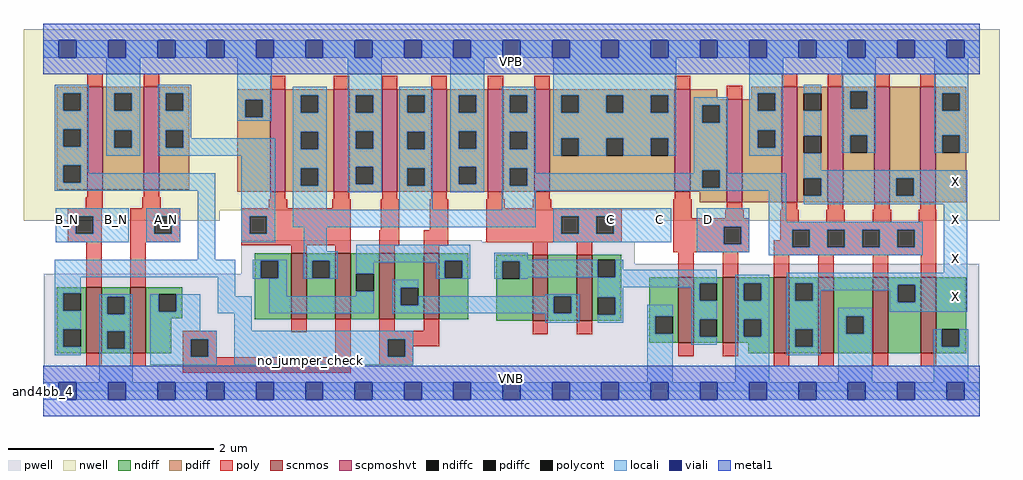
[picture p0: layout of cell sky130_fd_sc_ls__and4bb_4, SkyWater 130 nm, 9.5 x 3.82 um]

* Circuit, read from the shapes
.subckt sky130_fd_sc_ls__and4bb_4 A_N B_N C D VGND VNB VPB VPWR X
XM1 VGND B_N n1 VNB sky130_fd_pr__nfet_01v8 w=0.64 l=0.15
XM2 n2 A_N VGND VNB sky130_fd_pr__nfet_01v8 w=0.64 l=0.15
XM3 n3 n2 n4 VNB sky130_fd_pr__nfet_01v8 w=0.64 l=0.15 m=2
XM4 n5 n1 n4 VNB sky130_fd_pr__nfet_01v8 w=0.64 l=0.15 m=2
XM5 n5 C n6 VNB sky130_fd_pr__nfet_01v8 w=0.64 l=0.15 m=2
XM6 n6 D VGND VNB sky130_fd_pr__nfet_01v8 w=0.64 l=0.15 m=2
XM7 X n3 VGND VNB sky130_fd_pr__nfet_01v8 w=0.74 l=0.15 m=4
XM8 VPWR B_N n1 VPB sky130_fd_pr__pfet_01v8_hvt w=1 l=0.15
XM9 n2 A_N VPWR VPB sky130_fd_pr__pfet_01v8_hvt w=1 l=0.15
XM10 n3 n2 VPWR VPB sky130_fd_pr__pfet_01v8_hvt w=1 l=0.15 m=2
XM11 n3 n1 VPWR VPB sky130_fd_pr__pfet_01v8_hvt w=1 l=0.15 m=2
XM12 n3 C VPWR VPB sky130_fd_pr__pfet_01v8_hvt w=1 l=0.15 m=2
XM13 n3 D VPWR VPB sky130_fd_pr__pfet_01v8_hvt w=1 l=0.15 m=2
XM14 X n3 VPWR VPB sky130_fd_pr__pfet_01v8_hvt w=1.12 l=0.15 m=4
.ends

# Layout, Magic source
magic
tech sky130A
magscale 1 2
<< nwell >>
rect -38 352 1862 704
rect -38 332 344 352
rect 1194 332 1862 352
<< pwell >>
rect 386 291 854 294
rect 386 248 1152 291
rect 386 228 1823 248
rect 1 49 1823 228
rect 0 0 1824 49
<< scnmos >>
rect 84 74 114 202
rect 170 74 200 202
rect 483 140 513 268
rect 569 140 599 268
rect 655 140 685 268
rect 741 140 771 268
rect 953 137 983 265
rect 1039 137 1069 265
rect 1237 94 1267 222
rect 1323 94 1353 222
rect 1423 74 1453 222
rect 1509 74 1539 222
rect 1615 74 1645 222
rect 1709 74 1739 222
<< scpmoshvt >>
rect 86 392 116 592
rect 196 392 226 592
rect 442 388 472 588
rect 566 388 596 588
rect 660 388 690 588
rect 756 388 786 588
rect 866 388 896 588
rect 956 388 986 588
rect 1230 388 1260 588
rect 1331 368 1361 568
rect 1438 368 1468 592
rect 1528 368 1558 592
rect 1618 368 1648 592
rect 1708 368 1738 592
<< ndiff >>
rect 412 254 483 268
rect 412 220 424 254
rect 458 220 483 254
rect 27 190 84 202
rect 27 156 39 190
rect 73 156 84 190
rect 27 120 84 156
rect 27 86 39 120
rect 73 86 84 120
rect 27 74 84 86
rect 114 184 170 202
rect 114 150 125 184
rect 159 150 170 184
rect 114 116 170 150
rect 114 82 125 116
rect 159 82 170 116
rect 114 74 170 82
rect 200 188 271 202
rect 200 154 225 188
rect 259 154 271 188
rect 200 142 271 154
rect 200 74 250 142
rect 412 140 483 220
rect 513 254 569 268
rect 513 220 524 254
rect 558 220 569 254
rect 513 140 569 220
rect 599 228 655 268
rect 599 194 610 228
rect 644 194 655 228
rect 599 140 655 194
rect 685 201 741 268
rect 685 167 696 201
rect 730 167 741 201
rect 685 140 741 167
rect 771 254 828 268
rect 771 220 782 254
rect 816 220 828 254
rect 771 140 828 220
rect 882 253 953 265
rect 882 219 894 253
rect 928 219 953 253
rect 882 137 953 219
rect 983 185 1039 265
rect 983 151 994 185
rect 1028 151 1039 185
rect 983 137 1039 151
rect 1069 256 1126 265
rect 1069 222 1080 256
rect 1114 222 1126 256
rect 1069 183 1126 222
rect 1069 149 1080 183
rect 1114 149 1126 183
rect 1069 137 1126 149
rect 1180 146 1237 222
rect 1180 112 1192 146
rect 1226 112 1237 146
rect 1180 94 1237 112
rect 1267 210 1323 222
rect 1267 176 1278 210
rect 1312 176 1323 210
rect 1267 140 1323 176
rect 1267 106 1278 140
rect 1312 106 1323 140
rect 1267 94 1323 106
rect 1353 210 1423 222
rect 1353 176 1364 210
rect 1398 176 1423 210
rect 1353 140 1423 176
rect 1353 106 1364 140
rect 1398 106 1423 140
rect 1353 94 1423 106
rect 1373 74 1423 94
rect 1453 210 1509 222
rect 1453 176 1464 210
rect 1498 176 1509 210
rect 1453 120 1509 176
rect 1453 86 1464 120
rect 1498 86 1509 120
rect 1453 74 1509 86
rect 1539 146 1615 222
rect 1539 112 1564 146
rect 1598 112 1615 146
rect 1539 74 1615 112
rect 1645 207 1709 222
rect 1645 173 1664 207
rect 1698 173 1709 207
rect 1645 74 1709 173
rect 1739 120 1797 222
rect 1739 86 1750 120
rect 1784 86 1797 120
rect 1739 74 1797 86
<< pdiff >>
rect 27 580 86 592
rect 27 546 39 580
rect 73 546 86 580
rect 27 510 86 546
rect 27 476 39 510
rect 73 476 86 510
rect 27 440 86 476
rect 27 406 39 440
rect 73 406 86 440
rect 27 392 86 406
rect 116 580 196 592
rect 116 546 139 580
rect 173 546 196 580
rect 116 508 196 546
rect 116 474 139 508
rect 173 474 196 508
rect 116 392 196 474
rect 226 580 285 592
rect 226 546 239 580
rect 273 546 285 580
rect 226 508 285 546
rect 226 474 239 508
rect 273 474 285 508
rect 226 392 285 474
rect 378 567 442 588
rect 378 533 394 567
rect 428 533 442 567
rect 378 388 442 533
rect 472 576 566 588
rect 472 542 502 576
rect 536 542 566 576
rect 472 505 566 542
rect 472 471 502 505
rect 536 471 566 505
rect 472 434 566 471
rect 472 400 502 434
rect 536 400 566 434
rect 472 388 566 400
rect 596 576 660 588
rect 596 542 609 576
rect 643 542 660 576
rect 596 506 660 542
rect 596 472 609 506
rect 643 472 660 506
rect 596 437 660 472
rect 596 403 609 437
rect 643 403 660 437
rect 596 388 660 403
rect 690 576 756 588
rect 690 542 709 576
rect 743 542 756 576
rect 690 505 756 542
rect 690 471 709 505
rect 743 471 756 505
rect 690 434 756 471
rect 690 400 709 434
rect 743 400 756 434
rect 690 388 756 400
rect 786 576 866 588
rect 786 542 809 576
rect 843 542 866 576
rect 786 506 866 542
rect 786 472 809 506
rect 843 472 866 506
rect 786 437 866 472
rect 786 403 809 437
rect 843 403 866 437
rect 786 388 866 403
rect 896 576 956 588
rect 896 542 909 576
rect 943 542 956 576
rect 896 505 956 542
rect 896 471 909 505
rect 943 471 956 505
rect 896 434 956 471
rect 896 400 909 434
rect 943 400 956 434
rect 896 388 956 400
rect 986 576 1230 588
rect 986 542 1009 576
rect 1043 542 1096 576
rect 1130 542 1183 576
rect 1217 542 1230 576
rect 986 492 1230 542
rect 986 458 1009 492
rect 1043 458 1096 492
rect 1130 458 1183 492
rect 1217 458 1230 492
rect 986 388 1230 458
rect 1260 568 1313 588
rect 1379 580 1438 592
rect 1379 568 1391 580
rect 1260 556 1331 568
rect 1260 522 1283 556
rect 1317 522 1331 556
rect 1260 430 1331 522
rect 1260 396 1283 430
rect 1317 396 1331 430
rect 1260 388 1331 396
rect 1278 368 1331 388
rect 1361 546 1391 568
rect 1425 546 1438 580
rect 1361 508 1438 546
rect 1361 474 1391 508
rect 1425 474 1438 508
rect 1361 368 1438 474
rect 1468 580 1528 592
rect 1468 546 1481 580
rect 1515 546 1528 580
rect 1468 497 1528 546
rect 1468 463 1481 497
rect 1515 463 1528 497
rect 1468 414 1528 463
rect 1468 380 1481 414
rect 1515 380 1528 414
rect 1468 368 1528 380
rect 1558 584 1618 592
rect 1558 550 1571 584
rect 1605 550 1618 584
rect 1558 498 1618 550
rect 1558 464 1571 498
rect 1605 464 1618 498
rect 1558 368 1618 464
rect 1648 414 1708 592
rect 1648 380 1661 414
rect 1695 380 1708 414
rect 1648 368 1708 380
rect 1738 580 1797 592
rect 1738 546 1751 580
rect 1785 546 1797 580
rect 1738 498 1797 546
rect 1738 464 1751 498
rect 1785 464 1797 498
rect 1738 368 1797 464
<< ndiffc >>
rect 424 220 458 254
rect 39 156 73 190
rect 39 86 73 120
rect 125 150 159 184
rect 125 82 159 116
rect 225 154 259 188
rect 524 220 558 254
rect 610 194 644 228
rect 696 167 730 201
rect 782 220 816 254
rect 894 219 928 253
rect 994 151 1028 185
rect 1080 222 1114 256
rect 1080 149 1114 183
rect 1192 112 1226 146
rect 1278 176 1312 210
rect 1278 106 1312 140
rect 1364 176 1398 210
rect 1364 106 1398 140
rect 1464 176 1498 210
rect 1464 86 1498 120
rect 1564 112 1598 146
rect 1664 173 1698 207
rect 1750 86 1784 120
<< pdiffc >>
rect 39 546 73 580
rect 39 476 73 510
rect 39 406 73 440
rect 139 546 173 580
rect 139 474 173 508
rect 239 546 273 580
rect 239 474 273 508
rect 394 533 428 567
rect 502 542 536 576
rect 502 471 536 505
rect 502 400 536 434
rect 609 542 643 576
rect 609 472 643 506
rect 609 403 643 437
rect 709 542 743 576
rect 709 471 743 505
rect 709 400 743 434
rect 809 542 843 576
rect 809 472 843 506
rect 809 403 843 437
rect 909 542 943 576
rect 909 471 943 505
rect 909 400 943 434
rect 1009 542 1043 576
rect 1096 542 1130 576
rect 1183 542 1217 576
rect 1009 458 1043 492
rect 1096 458 1130 492
rect 1183 458 1217 492
rect 1283 522 1317 556
rect 1283 396 1317 430
rect 1391 546 1425 580
rect 1391 474 1425 508
rect 1481 546 1515 580
rect 1481 463 1515 497
rect 1481 380 1515 414
rect 1571 550 1605 584
rect 1571 464 1605 498
rect 1661 380 1695 414
rect 1751 546 1785 580
rect 1751 464 1785 498
<< poly >>
rect 86 592 116 618
rect 196 592 226 618
rect 442 588 472 614
rect 566 588 596 614
rect 660 588 690 614
rect 756 588 786 614
rect 866 588 896 614
rect 956 588 986 614
rect 1230 588 1260 614
rect 86 377 116 392
rect 196 377 226 392
rect 1331 568 1361 594
rect 1438 592 1468 618
rect 1528 592 1558 618
rect 1618 592 1648 618
rect 1708 592 1738 618
rect 83 356 116 377
rect 193 356 229 377
rect 442 373 472 388
rect 566 373 596 388
rect 660 373 690 388
rect 756 373 786 388
rect 866 373 896 388
rect 956 373 986 388
rect 1230 373 1260 388
rect 439 356 475 373
rect 563 356 599 373
rect 48 340 114 356
rect 48 306 64 340
rect 98 306 114 340
rect 48 290 114 306
rect 84 202 114 290
rect 170 340 267 356
rect 170 306 217 340
rect 251 306 267 340
rect 170 290 267 306
rect 386 340 599 356
rect 386 306 402 340
rect 436 306 599 340
rect 657 313 693 373
rect 753 313 789 373
rect 170 202 200 290
rect 386 284 599 306
rect 483 268 513 284
rect 569 268 599 284
rect 655 283 693 313
rect 741 283 789 313
rect 863 356 899 373
rect 953 356 989 373
rect 863 340 1127 356
rect 863 306 1009 340
rect 1043 306 1077 340
rect 1111 306 1127 340
rect 863 290 1127 306
rect 1227 336 1263 373
rect 1331 353 1361 368
rect 1438 353 1468 368
rect 1528 353 1558 368
rect 1618 353 1648 368
rect 1708 353 1738 368
rect 1328 336 1364 353
rect 1227 320 1375 336
rect 655 268 685 283
rect 741 268 771 283
rect 953 265 983 290
rect 1039 265 1069 290
rect 1227 286 1325 320
rect 1359 286 1375 320
rect 1435 330 1471 353
rect 1525 330 1561 353
rect 1615 330 1651 353
rect 1705 330 1739 353
rect 1435 314 1739 330
rect 1435 294 1459 314
rect 1227 270 1375 286
rect 1423 280 1459 294
rect 1493 280 1527 314
rect 1561 280 1595 314
rect 1629 280 1663 314
rect 1697 280 1739 314
rect 272 101 338 117
rect 483 114 513 140
rect 84 48 114 74
rect 170 48 200 74
rect 272 67 288 101
rect 322 67 338 101
rect 272 66 338 67
rect 569 66 599 140
rect 272 36 599 66
rect 655 117 685 140
rect 741 117 771 140
rect 1237 222 1267 270
rect 1323 222 1353 270
rect 1423 264 1739 280
rect 1423 222 1453 264
rect 1509 222 1539 264
rect 1615 222 1645 264
rect 1709 222 1739 264
rect 655 101 771 117
rect 953 111 983 137
rect 1039 111 1069 137
rect 655 67 671 101
rect 705 87 771 101
rect 705 67 721 87
rect 1237 68 1267 94
rect 1323 68 1353 94
rect 655 51 721 67
rect 1423 48 1453 74
rect 1509 48 1539 74
rect 1615 48 1645 74
rect 1709 48 1739 74
<< polycont >>
rect 64 306 98 340
rect 217 306 251 340
rect 402 306 436 340
rect 1009 306 1043 340
rect 1077 306 1111 340
rect 1325 286 1359 320
rect 1459 280 1493 314
rect 1527 280 1561 314
rect 1595 280 1629 314
rect 1663 280 1697 314
rect 288 67 322 101
rect 671 67 705 101
<< locali >>
rect 0 649 31 683
rect 65 649 127 683
rect 161 649 223 683
rect 257 649 319 683
rect 353 649 415 683
rect 449 649 511 683
rect 545 649 607 683
rect 641 649 703 683
rect 737 649 799 683
rect 833 649 895 683
rect 929 649 991 683
rect 1025 649 1087 683
rect 1121 649 1183 683
rect 1217 649 1279 683
rect 1313 649 1375 683
rect 1409 649 1471 683
rect 1505 649 1567 683
rect 1601 649 1663 683
rect 1697 649 1759 683
rect 1793 649 1824 683
rect 23 580 89 596
rect 23 546 39 580
rect 73 546 89 580
rect 23 510 89 546
rect 23 476 39 510
rect 73 476 89 510
rect 23 440 89 476
rect 123 580 189 649
rect 123 546 139 580
rect 173 546 189 580
rect 123 508 189 546
rect 123 474 139 508
rect 173 474 189 508
rect 123 458 189 474
rect 223 580 289 596
rect 223 546 239 580
rect 273 546 289 580
rect 223 508 289 546
rect 378 567 445 649
rect 378 533 394 567
rect 428 533 445 567
rect 378 526 445 533
rect 486 576 552 592
rect 486 542 502 576
rect 536 542 552 576
rect 223 474 239 508
rect 273 492 289 508
rect 486 505 552 542
rect 273 474 452 492
rect 223 458 452 474
rect 23 406 39 440
rect 73 424 89 440
rect 73 406 335 424
rect 23 390 335 406
rect 25 340 167 356
rect 25 306 64 340
rect 98 306 167 340
rect 25 290 167 306
rect 201 340 267 356
rect 201 306 217 340
rect 251 306 267 340
rect 201 290 267 306
rect 301 256 335 390
rect 386 340 452 458
rect 386 306 402 340
rect 436 306 452 340
rect 486 471 502 505
rect 536 471 552 505
rect 486 434 552 471
rect 486 400 502 434
rect 536 400 552 434
rect 486 353 552 400
rect 593 576 659 649
rect 593 542 609 576
rect 643 542 659 576
rect 593 506 659 542
rect 593 472 609 506
rect 643 472 659 506
rect 593 437 659 472
rect 593 403 609 437
rect 643 403 659 437
rect 593 387 659 403
rect 693 576 759 592
rect 693 542 709 576
rect 743 542 759 576
rect 693 505 759 542
rect 693 471 709 505
rect 743 471 759 505
rect 693 434 759 471
rect 693 400 709 434
rect 743 400 759 434
rect 693 353 759 400
rect 793 576 859 649
rect 793 542 809 576
rect 843 542 859 576
rect 793 506 859 542
rect 793 472 809 506
rect 843 472 859 506
rect 793 437 859 472
rect 793 403 809 437
rect 843 403 859 437
rect 793 387 859 403
rect 893 576 959 592
rect 893 542 909 576
rect 943 542 959 576
rect 893 505 959 542
rect 893 471 909 505
rect 943 471 959 505
rect 893 434 959 471
rect 993 576 1233 649
rect 993 542 1009 576
rect 1043 542 1096 576
rect 1130 542 1183 576
rect 1217 542 1233 576
rect 1375 580 1441 649
rect 993 492 1233 542
rect 993 458 1009 492
rect 1043 458 1096 492
rect 1130 458 1183 492
rect 1217 458 1233 492
rect 1267 556 1333 572
rect 1267 522 1283 556
rect 1317 522 1333 556
rect 893 400 909 434
rect 943 424 959 434
rect 1267 430 1333 522
rect 1375 546 1391 580
rect 1425 546 1441 580
rect 1375 508 1441 546
rect 1375 474 1391 508
rect 1425 474 1441 508
rect 1375 458 1441 474
rect 1481 580 1515 596
rect 1481 497 1515 546
rect 1555 584 1621 649
rect 1555 550 1571 584
rect 1605 550 1621 584
rect 1555 498 1621 550
rect 1555 464 1571 498
rect 1605 464 1621 498
rect 1735 580 1801 649
rect 1735 546 1751 580
rect 1785 546 1801 580
rect 1735 498 1801 546
rect 1735 464 1751 498
rect 1785 464 1801 498
rect 1267 424 1283 430
rect 943 400 1283 424
rect 893 396 1283 400
rect 1317 424 1333 430
rect 1481 430 1515 463
rect 1317 396 1447 424
rect 893 390 1447 396
rect 893 353 959 390
rect 486 319 959 353
rect 993 340 1223 356
rect 386 290 452 306
rect 508 272 552 319
rect 993 306 1009 340
rect 1043 306 1077 340
rect 1111 306 1223 340
rect 993 290 1223 306
rect 1273 320 1375 356
rect 1273 286 1325 320
rect 1359 286 1375 320
rect 23 222 374 256
rect 23 190 73 222
rect 23 156 39 190
rect 23 120 73 156
rect 23 86 39 120
rect 23 70 73 86
rect 109 184 175 188
rect 109 150 125 184
rect 159 150 175 184
rect 109 116 175 150
rect 109 82 125 116
rect 159 82 175 116
rect 109 17 175 82
rect 209 154 225 188
rect 259 154 306 188
rect 209 117 306 154
rect 340 185 374 222
rect 408 254 474 256
rect 408 220 424 254
rect 458 220 474 254
rect 408 219 474 220
rect 508 254 574 272
rect 508 220 524 254
rect 558 220 574 254
rect 508 219 574 220
rect 610 254 832 285
rect 1273 270 1375 286
rect 1413 330 1447 390
rect 1481 414 1799 430
rect 1515 380 1661 414
rect 1695 380 1799 414
rect 1481 364 1799 380
rect 1413 314 1713 330
rect 1413 280 1459 314
rect 1493 280 1527 314
rect 1561 280 1595 314
rect 1629 280 1663 314
rect 1697 280 1713 314
rect 610 251 782 254
rect 610 228 644 251
rect 440 185 474 219
rect 766 220 782 251
rect 816 220 832 254
rect 766 219 832 220
rect 878 256 944 269
rect 1413 264 1713 280
rect 878 253 1080 256
rect 878 219 894 253
rect 928 222 1080 253
rect 1114 236 1130 256
rect 1114 222 1312 236
rect 1753 230 1799 364
rect 928 219 944 222
rect 610 185 644 194
rect 340 151 406 185
rect 440 151 644 185
rect 680 201 730 217
rect 680 167 696 201
rect 1080 210 1312 222
rect 1080 202 1278 210
rect 978 185 1044 188
rect 730 167 994 185
rect 680 151 994 167
rect 1028 151 1044 185
rect 372 117 406 151
rect 978 133 1044 151
rect 1080 183 1130 202
rect 1114 149 1130 183
rect 1262 176 1278 202
rect 1080 133 1130 149
rect 1176 146 1226 168
rect 209 101 338 117
rect 209 67 288 101
rect 322 67 338 101
rect 209 51 338 67
rect 372 101 721 117
rect 372 67 671 101
rect 705 67 721 101
rect 372 51 721 67
rect 1176 112 1192 146
rect 1176 17 1226 112
rect 1262 140 1312 176
rect 1262 106 1278 140
rect 1262 90 1312 106
rect 1348 210 1414 226
rect 1348 176 1364 210
rect 1398 176 1414 210
rect 1348 140 1414 176
rect 1348 106 1364 140
rect 1398 106 1414 140
rect 1348 17 1414 106
rect 1448 210 1799 230
rect 1448 176 1464 210
rect 1498 207 1799 210
rect 1498 196 1664 207
rect 1498 176 1514 196
rect 1448 120 1514 176
rect 1648 173 1664 196
rect 1698 173 1799 207
rect 1448 86 1464 120
rect 1498 86 1514 120
rect 1448 70 1514 86
rect 1548 146 1614 162
rect 1648 154 1799 173
rect 1548 112 1564 146
rect 1598 112 1614 146
rect 1548 17 1614 112
rect 1734 86 1750 120
rect 1784 86 1801 120
rect 1734 17 1801 86
rect 0 -17 31 17
rect 65 -17 127 17
rect 161 -17 223 17
rect 257 -17 319 17
rect 353 -17 415 17
rect 449 -17 511 17
rect 545 -17 607 17
rect 641 -17 703 17
rect 737 -17 799 17
rect 833 -17 895 17
rect 929 -17 991 17
rect 1025 -17 1087 17
rect 1121 -17 1183 17
rect 1217 -17 1279 17
rect 1313 -17 1375 17
rect 1409 -17 1471 17
rect 1505 -17 1567 17
rect 1601 -17 1663 17
rect 1697 -17 1759 17
rect 1793 -17 1824 17
<< viali >>
rect 31 649 65 683
rect 127 649 161 683
rect 223 649 257 683
rect 319 649 353 683
rect 415 649 449 683
rect 511 649 545 683
rect 607 649 641 683
rect 703 649 737 683
rect 799 649 833 683
rect 895 649 929 683
rect 991 649 1025 683
rect 1087 649 1121 683
rect 1183 649 1217 683
rect 1279 649 1313 683
rect 1375 649 1409 683
rect 1471 649 1505 683
rect 1567 649 1601 683
rect 1663 649 1697 683
rect 1759 649 1793 683
rect 31 -17 65 17
rect 127 -17 161 17
rect 223 -17 257 17
rect 319 -17 353 17
rect 415 -17 449 17
rect 511 -17 545 17
rect 607 -17 641 17
rect 703 -17 737 17
rect 799 -17 833 17
rect 895 -17 929 17
rect 991 -17 1025 17
rect 1087 -17 1121 17
rect 1183 -17 1217 17
rect 1279 -17 1313 17
rect 1375 -17 1409 17
rect 1471 -17 1505 17
rect 1567 -17 1601 17
rect 1663 -17 1697 17
rect 1759 -17 1793 17
<< metal1 >>
rect 0 683 1824 715
rect 0 649 31 683
rect 65 649 127 683
rect 161 649 223 683
rect 257 649 319 683
rect 353 649 415 683
rect 449 649 511 683
rect 545 649 607 683
rect 641 649 703 683
rect 737 649 799 683
rect 833 649 895 683
rect 929 649 991 683
rect 1025 649 1087 683
rect 1121 649 1183 683
rect 1217 649 1279 683
rect 1313 649 1375 683
rect 1409 649 1471 683
rect 1505 649 1567 683
rect 1601 649 1663 683
rect 1697 649 1759 683
rect 1793 649 1824 683
rect 0 617 1824 649
rect 0 17 1824 49
rect 0 -17 31 17
rect 65 -17 127 17
rect 161 -17 223 17
rect 257 -17 319 17
rect 353 -17 415 17
rect 449 -17 511 17
rect 545 -17 607 17
rect 641 -17 703 17
rect 737 -17 799 17
rect 833 -17 895 17
rect 929 -17 991 17
rect 1025 -17 1087 17
rect 1121 -17 1183 17
rect 1217 -17 1279 17
rect 1313 -17 1375 17
rect 1409 -17 1471 17
rect 1505 -17 1567 17
rect 1601 -17 1663 17
rect 1697 -17 1759 17
rect 1793 -17 1824 17
rect 0 -49 1824 -17
<< labels >>
rlabel comment s 0 0 0 0 4 and4bb_4
flabel comment s 520 59 520 59 0 FreeSans 200 0 0 0 no_jumper_check
flabel pwell s 0 0 1824 49 0 FreeSans 200 0 0 0 VNB
port 6 nsew ground bidirectional
flabel nwell s 0 617 1824 666 0 FreeSans 200 0 0 0 VPB
port 7 nsew power bidirectional
flabel metal1 s 0 617 1824 666 0 FreeSans 340 0 0 0 VPWR
port 8 nsew power bidirectional abutment
flabel metal1 s 0 0 1824 49 0 FreeSans 340 0 0 0 VGND
port 5 nsew ground bidirectional abutment
flabel locali s 31 316 65 350 0 FreeSans 340 0 0 0 B_N
port 2 nsew signal input
flabel locali s 127 316 161 350 0 FreeSans 340 0 0 0 B_N
port 2 nsew signal input
flabel locali s 223 316 257 350 0 FreeSans 340 0 0 0 A_N
port 1 nsew signal input
flabel locali s 1279 316 1313 350 0 FreeSans 340 0 0 0 D
port 4 nsew signal input
flabel locali s 1087 316 1121 350 0 FreeSans 340 0 0 0 C
port 3 nsew signal input
flabel locali s 1183 316 1217 350 0 FreeSans 340 0 0 0 C
port 3 nsew signal input
flabel locali s 1759 168 1793 202 0 FreeSans 340 0 0 0 X
port 9 nsew signal output
flabel locali s 1759 242 1793 276 0 FreeSans 340 0 0 0 X
port 9 nsew signal output
flabel locali s 1759 316 1793 350 0 FreeSans 340 0 0 0 X
port 9 nsew signal output
flabel locali s 1759 390 1793 424 0 FreeSans 340 0 0 0 X
port 9 nsew signal output
<< properties >>
string LEFsite unit
string LEFclass CORE
string FIXED_BBOX 0 0 1824 666
string GDS_FILE $PDKPATH/libs.ref/sky130_fd_sc_ls/gds/sky130_fd_sc_ls.gds
string LEFsymmetry X Y
string GDS_END 3113062
string GDS_START 3098602
<< end >>
